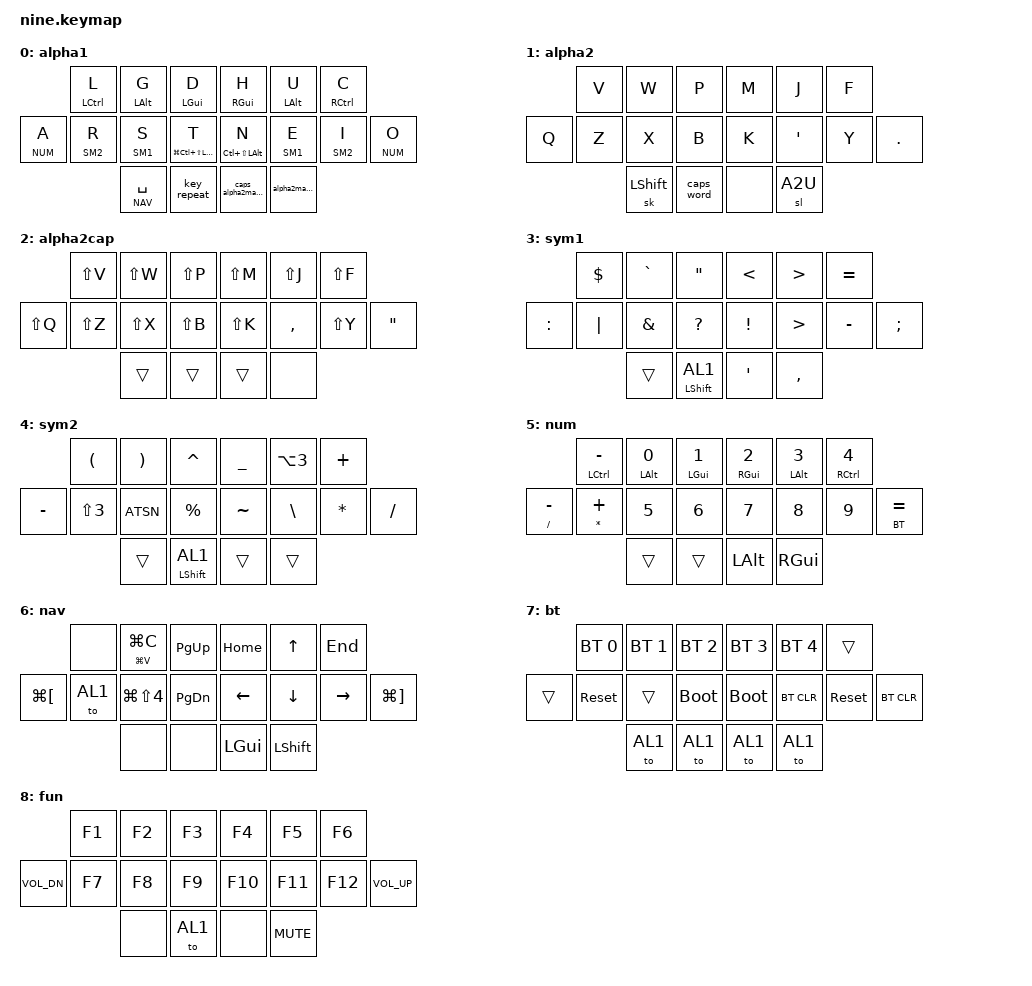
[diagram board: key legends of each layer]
/*
 * Copyright (c) 2020 The ZMK Contributors
 *
 * SPDX-License-Identifier: MIT
 */

#include <behaviors.dtsi>
#include <dt-bindings/zmk/keys.h>
#include <dt-bindings/zmk/bt.h>

&mt {
    tapping-term-ms = <201>;
    flavor = "tap-preferred";
 };
&sk {
     release-after-ms = <2000>;
     quick-release;
 };
 
/* Layers */
#define AL1 0
#define AL2 1
#define A2U 2
#define SM1 3
#define SM2 4
#define NUM 5
#define NAV 6
#define BT 7
#define FUN 8


/ { 
    combos {
        compatible = "zmk,combos";

        combo_fun {
            timeout-ms = <40>;
            key-positions = <0 1 2>;
            bindings = <&sl FUN>;
        };
        combo_nav {
            timeout-ms = <40>;
            key-positions = <3 4 5>;
            bindings = <&to NAV>;
        };
        combo_caps {
            timeout-ms = <40>;
            key-positions = <7 8 9>;
            bindings = <&caps_word>;
        };

        combo_esc {
            timeout-ms = <35>;
            key-positions = <0 1>;
            bindings = <&kp ESC>;
        };

        combo_del {
            timeout-ms = <35>;
            key-positions = <1 2>;
            bindings = <&kp DEL>;
        };

        combo_tab {
            timeout-ms = <35>;
            key-positions = <7 8>;
            bindings = <&kp TAB>;
        };

        combo_lbkt {
            timeout-ms = <30>;
            key-positions = <0 7>;
            bindings = <&kp LBKT>;
        };
        combo_lbrc {
            timeout-ms = <30>;
            key-positions = <1 8>;
            bindings = <&kp LBRC>;
        };
        combo_lprn {
            timeout-ms = <30>;
            key-positions = <2 9>;
            bindings = <&kp LPAR>;
        };

        combo_bspc {
            timeout-ms = <30>;
            key-positions = <11 12>;
            bindings = <&kp BSPC>;
        };

        combo_ent {
            timeout-ms = <30>;
            key-positions = <10 11>;
            bindings = <&kp RET>;
        };

        combo_rprn {
            timeout-ms = <30>;
            key-positions = <3 10>;
            bindings = <&kp RPAR>;
        };
        combo_rbrc {
            timeout-ms = <30>;
            key-positions = <4 11>;
            bindings = <&kp RBRC>;
        };
        combo_rbkt {
            timeout-ms = <30>;
            key-positions = <5 12>;
            bindings = <&kp RBKT>;
        };
    };

    behaviors {
        hm_l: homerow_mods_left {
            compatible = "zmk,behavior-hold-tap";
            #binding-cells = <2>;
            tapping-term-ms = <300>;
            quick-tap-ms = <250>;
            flavor = "tap-preferred";
            bindings = <&kp>, <&kp>;
        };
        hm_r: homerow_mods_right {
            compatible = "zmk,behavior-hold-tap";
            #binding-cells = <2>;
            tapping-term-ms = <300>;
            quick-tap-ms = <250>;
            flavor = "tap-preferred";
            bindings = <&kp>, <&kp>;
        };
        sr: shift_layer {
            compatible = "zmk,behavior-hold-tap";
            #binding-cells = <2>;
            tapping-term-ms = <300>;
            quick_tap_ms = <0>;
            flavor = "tap-preferred";
            bindings = <&kp>, <&to>;
        retro-tap;
        };
        hl_l: homerow_layers_left {
            compatible = "zmk,behavior-hold-tap";
            #binding-cells = <2>;
            tapping-term-ms = <220>;
            quick-tap-ms = <250>;
            flavor = "tap-preferred";
            bindings = <&mo>, <&kp>;
        };
        hl_r: homerow_layers_right {
            compatible = "zmk,behavior-hold-tap";
            #binding-cells = <2>;
            tapping-term-ms = <220>;
            quick-tap-ms = <250>;
            flavor = "tap-preferred";
            bindings = <&mo>, <&kp>;
        };
    td: tapdance {
            compatible = "zmk,behavior-hold-tap";
            #binding-cells = <2>;
            tapping-term-ms = <190>;
            quick-tap-ms = <250>;
            flavor = "tap-preferred";
            bindings = <&kp>, <&kp>;
        };
    shrep: shift_repeat {
            compatible = "zmk,behavior-hold-tap";
            label = "SHIFT_REPEAT";
            #binding-cells = <2>;
            flavor = "hold-preferred";
            tapping-term-ms = <400>;
            quick-tap-ms = <200>;
            bindings = <&kp>, <&key_repeat>;
        };
  };

  macros {

    alpha2macro: behavior_macro_1 {
        compatible = "zmk,behavior-macro";
        #binding-cells = <0>;
        bindings = < &sl AL2 >;
      };
    caps_alpha2macro: behavior_macro_2 {
        compatible = "zmk,behavior-macro";
        #binding-cells = <0>;
        bindings = < &sl A2U >;
      };

    arrow_fn: behavior_macro_3 {
        compatible = "zmk,behavior-macro";
        #binding-cells = <0>;
        bindings = < &macro_tap &kp LPRN &kp RPRN &kp SPC &kp EQUAL &kp GT &kp SPC &kp LBRC &kp RBRC &kp LEFT>;
      };
  };


//                  0       1       2                   3       4           5
//          6       7       8       9                   10      11          12          13
//                          14      15                  16      17
       keymap {
                compatible = "zmk,keymap";
                
                alpha1 {
        bindings = <
                            &hm_l LCTL L    &hm_l LALT G    &hm_l LGUI D                &hm_r RGUI H    &hm_r LALT U        &hm_r RCTL C
            &hl_l NUM A     &hl_l SM2 R     &hl_l SM1 S     &hm_l LG(LC(LS(LALT))) T    &hm_r LC(LS(LALT)) N     &hl_r SM1 E         &hl_r SM2 I     &hl_r NUM O
                                            &hl_l NAV SPC   &key_repeat                  &caps_alpha2macro  &alpha2macro
        >;
        };
                alpha2 {
        bindings = <
                    &kp V       &kp W               &kp P               &kp M       &kp J           &kp F
        &kp Q       &kp Z       &kp X               &kp B               &kp K       &kp SQT         &kp Y       &kp DOT
                                &sk LSHIFT          &caps_word          &none       &sl A2U
        >;
        };

                alpha2cap {
                bindings = <
                    &kp LS(V)	  &kp LS(W)	     &kp LS(P)        	 	&kp LS(M)    	&kp LS(J)   &kp LS(F)	
        &kp LS(Q) 	&kp LS(Z) 	&kp LS(X)	     &kp LS(B)		        &kp LS(K)	    &kp COMMA	  &kp LS(Y)	  &kp DQT
                                &trans 		     &trans 			        &trans	      &none
        >;
        };
                sym1 {
        bindings = <
                    &kp DLLR    &kp GRAVE  &kp DQT                        &kp LT          &kp GT        &kp EQUAL
        &kp COLON   &kp PIPE    &kp AMPS   &kp QMARK                      &kp EXCL        &kp GT        &kp MINUS  &kp SEMI
                                &trans     &sr LSHIFT AL1                 &kp SQT         &kp COMMA
        >;
        };

                sym2 {
        bindings = <
                    &kp LPAR    &kp RPAR        &kp CARET                 &kp UNDER   &kp LA(3)    &kp PLUS
        &kp MINUS   &kp LS(3)   &kp ATSN        &kp PRCNT                 &kp TILDE   &kp BSLH    &kp STAR    &kp SLASH
                                &trans          &sr LSHIFT AL1            &trans      &trans

        >;
        };

        num {
        bindings = <
                          &hm_l LCTL MINUS    &hm_l LALT N0   &hm_l LGUI N1       &hm_r RGUI N2   &hm_r LALT N3    &hm_r RCTL N4
        &td SLASH MINUS   &td STAR PLUS       &kp N5          &kp N6              &kp N7          &kp N8           &kp N9         &hl_l BT EQUAL
                                              &trans          &trans              &kp LALT        &kp RGUI
        >;
        };

        nav {
        bindings = <
                            &none          &td LG(V) LG(C)        &kp PG_UP       &kp HOME  &kp UP    &kp END
        &kp LG(LBKT)        &to AL1        &kp LG(LS(NUMBER_4))   &kp PG_DN       &kp LEFT  &kp DOWN  &kp RIGHT   &kp LG(RBKT)
                                           &none                  &none           &kp LGUI  &kp LSHIFT
        >;
        };

        bt {
        bindings = <
                  &bt BT_SEL 0    &bt BT_SEL 1  &bt BT_SEL 2           &bt BT_SEL 3     &bt BT_SEL 4   &trans
        &trans    &sys_reset      &trans        &bootloader            &bootloader      &bt BT_CLR     &sys_reset  &bt BT_CLR
                                  &to AL1       &to AL1                &to AL1          &to AL1    
        >;
        };

        fun {
            bindings = <
                     &kp F1   &kp F2    &kp F3           &kp F4    &kp F5    &kp F6
     &kp C_VOL_DN    &kp F7   &kp F8    &kp F9           &kp F10   &kp F11   &kp F12  &kp C_VOL_UP
                               &none     &to AL1          &none    &kp C_MUTE
                >;
        };
    };
};
